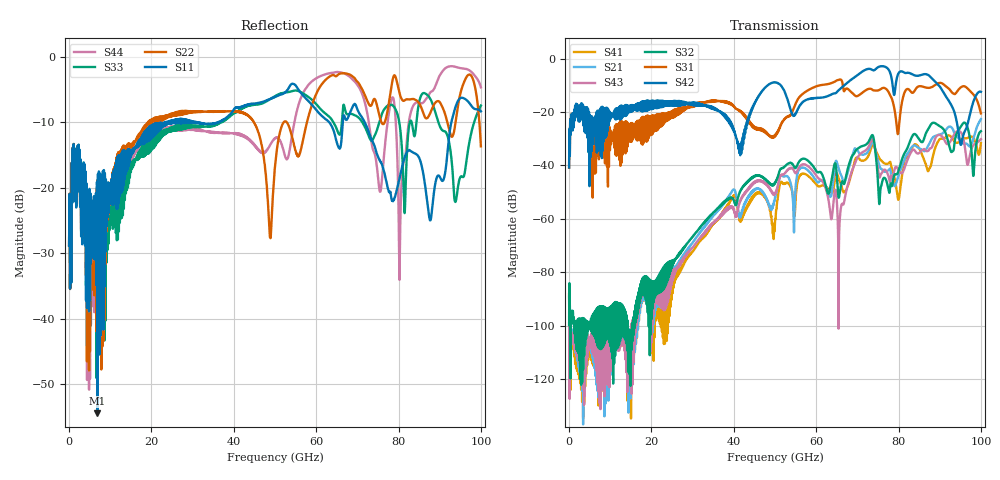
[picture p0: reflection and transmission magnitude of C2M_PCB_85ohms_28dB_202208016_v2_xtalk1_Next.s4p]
! Info: Touchstone file created by Circ.  Input file=Intel_C2M_200G_12p0in_202208016_staggered.circ
# Hz S RI R 50
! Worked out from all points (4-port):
!   10000 points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, 10 MHz to 100 GHz, reference 50 ohm
!   strongest paths, dB at 10 MHz, 25.01 GHz, 50.01 GHz, 75.01 GHz, 100 GHz:
!     S42: -40.8, -16.7, -8.9, -3.3, -12.5
!     S31: -40.8, -20.9, -29.0, -12.0, -20.5
!     S32: -99.9, -77.1, -46.4, -46.2, -27.2
!     S43: -89.3, -80.7, -50.6, -41.7, -30.2
!     S21: -88.9, -79.2, -51.9, -38.2, -22.7
!     S41: -88.2, -80.7, -60.6, -36.3, -31.7
!   lowest |S11| = -54.5 dB at 6.89 GHz (marker M1), VSWR 1.00, Z = 50.1 - j0.166 ohm
!   |S11| at or under -10 dB: start of sweep to 23.23 GHz; 31.24 GHz to 36.01 GHz (4.769 GHz wide, 14.2 % of centre); 71.79 GHz to 92.82 GHz (21.03 GHz wide, 25.5 % of centre)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
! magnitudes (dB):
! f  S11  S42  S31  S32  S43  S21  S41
! 10 MHz  -28.8  -40.8  -40.8  -99.9  -89.3  -88.9  -88.2
! 6.89 GHz  -54.5  -20.7  -22.9  -107.4  -111.7  -122.1  -114.5
! 41.56 GHz  -7.7  -36.2  -19.6  -49.8  -53.5  -59.4  -60.4
! 48.79 GHz  -6.4  -9.4  -28.9  -46.9  -49.0  -55.5  -57.1
! 76.08 GHz  -16.7  -2.9  -11.1  -45.9  -42.5  -41.9  -38.6
! 95.19 GHz  -6.2  -32.2  -10.7  -25.4  -27.7  -31.2  -30.3
! 100 GHz  -8.3  -12.5  -20.5  -27.2  -30.2  -22.7  -31.7
